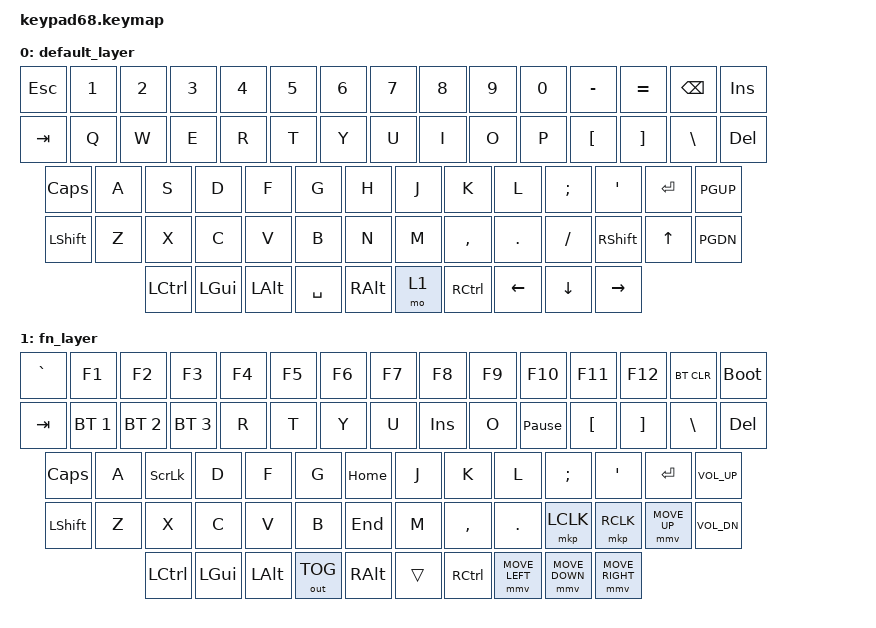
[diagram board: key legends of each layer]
#include <behaviors.dtsi>
#include <dt-bindings/zmk/keys.h>
#include <dt-bindings/zmk/bt.h>
#include <dt-bindings/zmk/outputs.h>
#include <dt-bindings/zmk/ext_power.h>
#include <dt-bindings/zmk/pointing.h>
#include <dt-bindings/zmk/reset.h>


/ {
    keymap {
        compatible = "zmk,keymap";

        default_layer {
// -----------------------------------------------------------------------------------------------------
// | ESC |  1  |  2  |  3  |  4  |  5  |  6  |  7  |  8  |  9  |  0  |  -  |  =  |   BKSP   |   Ins    |
// | TAB  |  Q  |  W  |  E  |  R  |  T  |  Y  |  U  |  I  |  O  |  P  |  [  |  ]  |   "|"   |  DEL    |
// | CAPS  |  A  |  S  |  D  |  F  |  G  |  H  |  J  |  K  |  L  |  ;  |  '  |     ENTER    |  PGUP    |
// |  SHIFT  |  Z  |  X  |  C  |  V  |  B  |  N  |  M  |  ,  |  .  |  /  |   SHIFT   |   UP   |  PGDN   |
// |  CTL | WIN | ALT |    SPACE                   SPACE     | ALT | Fn | CTL | LEFT |  DOWN  | RIGHT  |
// -----------------------------------------------------------------------------------------------------
			bindings = <
	&kp ESC  &kp N1 &kp N2 &kp N3 &kp N4 &kp N5 &kp N6 &kp N7 &kp N8 &kp N9 &kp N0 &kp MINUS &kp EQUAL    &kp BSPC  &kp INS
    &kp TAB  &kp Q  &kp W  &kp E  &kp R  &kp T  &kp Y  &kp U  &kp I  &kp O  &kp P  &kp LBKT  &kp RBKT     &kp BSLH  &kp DEL
	&kp CLCK  &kp A  &kp S  &kp D  &kp F  &kp G  &kp H  &kp J  &kp K  &kp L  &kp SEMI &kp SQT        &kp RET        &kp PGUP 
	&kp LSHFT   &kp Z  &kp X  &kp C  &kp V  &kp B  &kp N  &kp M  &kp COMMA &kp DOT &kp FSLH    &kp RSHFT    &kp UP  &kp PGDN
	&kp LCTRL &kp LGUI &kp LALT                &kp SPACE         &kp RALT &mo 1 &kp RCTRL       &kp LEFT   &kp DOWN &kp RIGHT
			>;
		};

		fn_layer {
// ------------------------------------------------------------------------------------------------------
// | ~   |  F1 |  F2 |  F3 |  F4 |  F5 |  F6 |  F7 |  F8 |  F9 | F10 |  F11 |  F12 |  BT_CLR   |  BOOT  |
// | TAB | BT1 |  BT2 |  BT3 |  R  |  T  |  Y  |  U  |  INS  |  O  |  PB  |  [  |  ]  |   "|"  |   DEL  |
// | CAPS  |  A  |  SLCK  |  D  |  F  |  G  | HOME|  J  |  K  |  L  |  ;  |  '  |     ENTER    |  VOLUP |
// |  SHIFT  |  Z  |  X  |  C  |  V  |  B  |  END |  M  |  ,  |  .  |  /  |   SHIFT   |   UP   |  VOLDN |
// |  CTL  |  fn  |  ALT  |            trans USB/BT          |  ALT  |  CTL  |  LEFT  |  DOWN  | RIGHT  |
// ------------------------------------------------------------------------------------------------------
			bindings = <
    &kp GRAVE  &kp F1  &kp F2  &kp F3 &kp F4  &kp F5   &kp F6   &kp F7   &kp F8  &kp F9  &kp F10  &kp F11  &kp F12  &bt BT_CLR  &bootloader
    &kp TAB  &bt BT_SEL 1 &bt BT_SEL 2 &bt BT_SEL 3 &kp R  &kp T  &kp Y  &kp U  &kp INS  &kp O  &kp PAUSE_BREAK  &kp LBKT  &kp RBKT     &kp BSLH  &kp DEL
	&kp CLCK  &kp A  &kp SLCK  &kp D  &kp F  &kp G  &kp HOME  &kp J  &kp K  &kp L  &kp SEMI &kp SQT        &kp RET      &kp C_VOL_UP  
	&kp LSHFT   &kp Z  &kp X  &kp C  &kp V  &kp B  &kp END  &kp M  &kp COMMA  &kp DOT  &mkp LCLK  &mkp RCLK  &mmv MOVE_UP  &kp C_VOL_DN
	&kp LCTRL &kp LGUI &kp LALT                 &out OUT_TOG                         &kp RALT &trans &kp RCTRL   &mmv MOVE_LEFT  &mmv MOVE_DOWN  &mmv MOVE_RIGHT
			>;	
        };
    };
};
